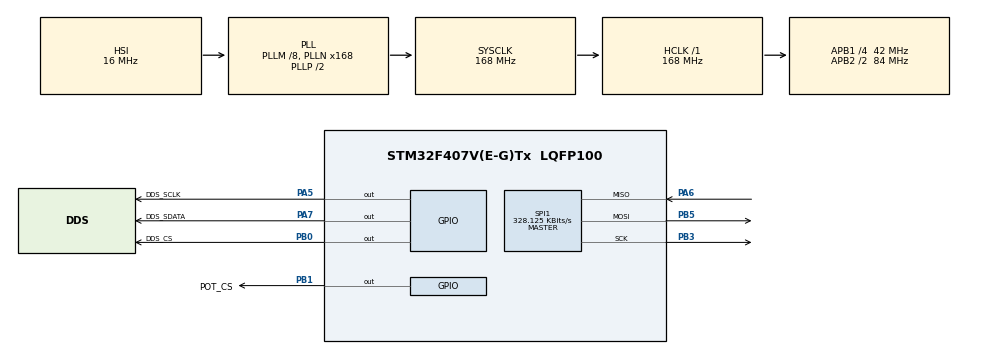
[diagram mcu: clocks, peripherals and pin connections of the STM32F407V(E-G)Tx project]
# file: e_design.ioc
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Mcu.Family=STM32F4
Mcu.Name=STM32F407V(E-G)Tx
Mcu.Package=LQFP100
NVIC.PriorityGroup=NVIC_PRIORITYGROUP_4
PA13.Mode=Serial_Wire
PA13.Signal=SYS_JTMS-SWDIO
PA14.Mode=Serial_Wire
PA14.Signal=SYS_JTCK-SWCLK
PA5.GPIO_Label=DDS_SCLK
PA5.Signal=GPIO_Output
PA6.Mode=Full_Duplex_Master
PA6.Signal=SPI1_MISO
PA7.GPIO_Label=DDS_SDATA
PA7.Signal=GPIO_Output
PB0.GPIO_Label=DDS_CS
PB0.Signal=GPIO_Output
PB1.GPIO_Label=POT_CS
PB1.PinState=GPIO_PIN_SET
PB1.Signal=GPIO_Output
PB3.Mode=Full_Duplex_Master
PB3.Signal=SPI1_SCK
PB5.Mode=Full_Duplex_Master
PB5.Signal=SPI1_MOSI
PC14-OSC32_IN.Mode=LSE-External-Oscillator
PC14-OSC32_IN.Signal=RCC_OSC32_IN
PC15-OSC32_OUT.Mode=LSE-External-Oscillator
PC15-OSC32_OUT.Signal=RCC_OSC32_OUT
PH0-OSC_IN.Mode=HSE-External-Oscillator
PH0-OSC_IN.Signal=RCC_OSC_IN
PH1-OSC_OUT.Mode=HSE-External-Oscillator
PH1-OSC_OUT.Signal=RCC_OSC_OUT
ProjectManager.HeapSize=0x200
ProjectManager.StackSize=0x400
ProjectManager.TargetToolchain=CMake
RCC.48MHZClocksFreq_Value=84000000
RCC.AHBFreq_Value=168000000
RCC.APB1CLKDivider=RCC_HCLK_DIV4
RCC.APB1Freq_Value=42000000
RCC.APB1TimFreq_Value=84000000
RCC.APB2CLKDivider=RCC_HCLK_DIV2
RCC.APB2Freq_Value=84000000
RCC.APB2TimFreq_Value=168000000
RCC.CortexFreq_Value=168000000
RCC.HCLKFreq_Value=168000000
RCC.HSE_VALUE=25000000
RCC.HSI_VALUE=16000000
RCC.PLLM=8
RCC.PLLN=168
RCC.SYSCLKFreq_VALUE=168000000
RCC.SYSCLKSource=RCC_SYSCLKSOURCE_PLLCLK
RCC.VCOOutputFreq_Value=336000000
SPI1.BaudRatePrescaler=SPI_BAUDRATEPRESCALER_256
SPI1.CLKPolarity=SPI_POLARITY_LOW
SPI1.CalculateBaudRate=328.125 KBits/s
SPI1.Direction=SPI_DIRECTION_2LINES
SPI1.Mode=SPI_MODE_MASTER
SPI1.VirtualType=VM_MASTER
board=custom

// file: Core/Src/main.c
/* USER CODE BEGIN Header */
/**
  ******************************************************************************
  * @file           : main.c
  * @brief          : Main program body
  ******************************************************************************
  * @attention
  *
  * Copyright (c) 2026 STMicroelectronics.
  * All rights reserved.
  *
  * This software is licensed under terms that can be found in the LICENSE file
  * in the root directory of this software component.
  * If no LICENSE file comes with this software, it is provided AS-IS.
  *
  ******************************************************************************
  */
/* USER CODE END Header */
#include "main.h"
#include "spi.h"
#include "gpio.h"

/* USER CODE BEGIN Includes */
#include "app.h"
/* USER CODE END Includes */

void SystemClock_Config(void);

int main(void)
{

  /* MCU Configuration--------------------------------------------------------*/

  /* Reset of all peripherals, Initializes the Flash interface and the Systick. */
  HAL_Init();

  /* Configure the system clock */
  SystemClock_Config();

  /* Initialize all configured peripherals */
  MX_GPIO_Init();
  MX_SPI1_Init();
  /* USER CODE BEGIN 2 */

  ad9833_t dds_src = {0};
  mcp4151_t pot_src = {0};
  global_t global = {0};
  const app_init_t config = {
    .dds_src = &dds_src,
    .pot_src = &pot_src,
    .pot_init = {
      .hspi = &hspi1,
      .cs_port = POT_CS_GPIO_Port,
      .cs_pin = POT_CS_Pin,
      .initial_position = 256U
    },
    .dds_init = {
      .sclk_port = DDS_SCLK_GPIO_Port,
      .sclk_pin = DDS_SCLK_Pin,
      .sdata_port = DDS_SDATA_GPIO_Port,
      .sdata_pin = DDS_SDATA_Pin,
      .cs_port = DDS_CS_GPIO_Port,
      .cs_pin = DDS_CS_Pin,
      .mclk_hz = 25000000U,
      .initial_frequency_hz = 10000U,
      .initial_waveform = AD9833_WAVE_SINE
    }
  };
  // 按配置初始化应用，再启动100 kHz正弦输出。
  if (app_init(&global, &config) != HAL_OK || app_start(&global) != HAL_OK) {
    Error_Handler();
  }
  HAL_Delay(3000U);
  if (app_stop(&global) != HAL_OK) {
    Error_Handler();
  }
  HAL_Delay(3000U);
  if (app_start(&global) != HAL_OK) {
    Error_Handler();
  }
  app_set_mcp4151_position(&global, 128U);

  /* USER CODE END 2 */

  /* Infinite loop */
  while (1)
  {

  }
}

void SystemClock_Config(void)
{
  RCC_OscInitTypeDef RCC_OscInitStruct = {0};
  RCC_ClkInitTypeDef RCC_ClkInitStruct = {0};

  /** Configure the main internal regulator output voltage
  */
  __HAL_RCC_PWR_CLK_ENABLE();
  __HAL_PWR_VOLTAGESCALING_CONFIG(PWR_REGULATOR_VOLTAGE_SCALE1);

  /** Initializes the RCC Oscillators according to the specified parameters
  * in the RCC_OscInitTypeDef structure.
  */
  RCC_OscInitStruct.OscillatorType = RCC_OSCILLATORTYPE_HSI;
  RCC_OscInitStruct.HSIState = RCC_HSI_ON;
  RCC_OscInitStruct.HSICalibrationValue = RCC_HSICALIBRATION_DEFAULT;
  RCC_OscInitStruct.PLL.PLLState = RCC_PLL_ON;
  RCC_OscInitStruct.PLL.PLLSource = RCC_PLLSOURCE_HSI;
  RCC_OscInitStruct.PLL.PLLM = 8;
  RCC_OscInitStruct.PLL.PLLN = 168;
  RCC_OscInitStruct.PLL.PLLP = RCC_PLLP_DIV2;
  RCC_OscInitStruct.PLL.PLLQ = 4;
  if (HAL_RCC_OscConfig(&RCC_OscInitStruct) != HAL_OK)
  {
    Error_Handler();
  }

  /** Initializes the CPU, AHB and APB buses clocks
  */
  RCC_ClkInitStruct.ClockType = RCC_CLOCKTYPE_HCLK|RCC_CLOCKTYPE_SYSCLK
                              |RCC_CLOCKTYPE_PCLK1|RCC_CLOCKTYPE_PCLK2;
  RCC_ClkInitStruct.SYSCLKSource = RCC_SYSCLKSOURCE_PLLCLK;
  RCC_ClkInitStruct.AHBCLKDivider = RCC_SYSCLK_DIV1;
  RCC_ClkInitStruct.APB1CLKDivider = RCC_HCLK_DIV4;
  RCC_ClkInitStruct.APB2CLKDivider = RCC_HCLK_DIV2;

  if (HAL_RCC_ClockConfig(&RCC_ClkInitStruct, FLASH_LATENCY_5) != HAL_OK)
  {
    Error_Handler();
  }
}

void Error_Handler(void)
{
  __disable_irq();
  while (1)
  {
  }
}
